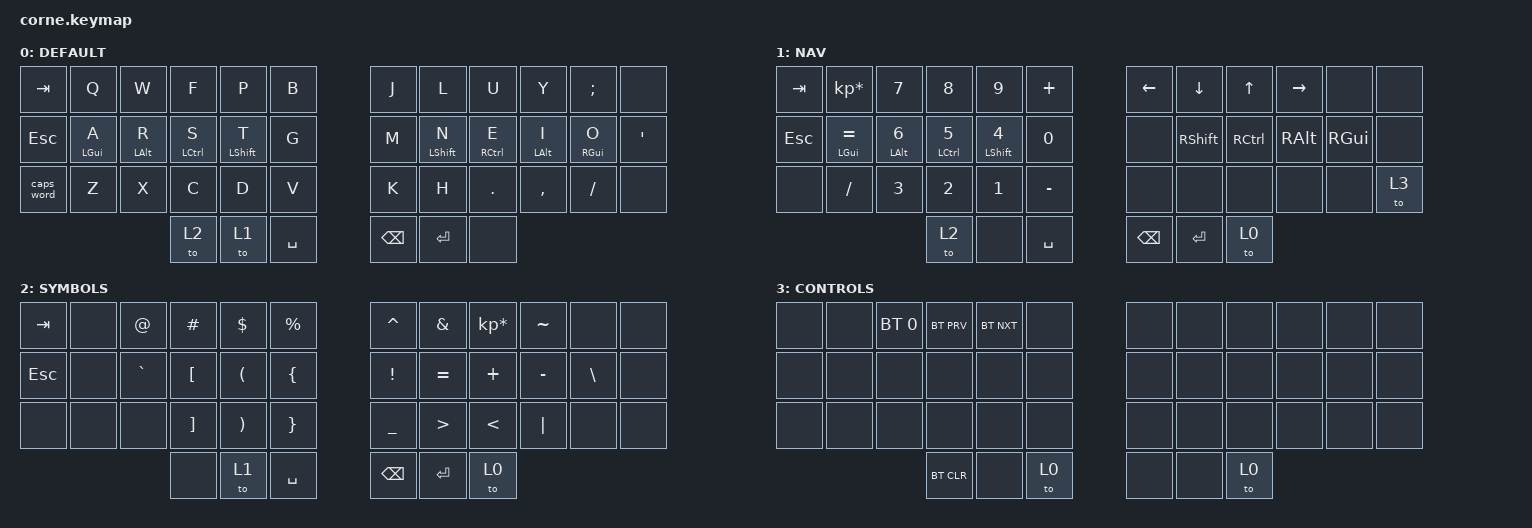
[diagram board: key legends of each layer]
/*
 * Copyright (c) 2020 The ZMK Contributors
 *
 * SPDX-License-Identifier: MIT
 */

#include <behaviors.dtsi>
#include <dt-bindings/zmk/keys.h>
#include <dt-bindings/zmk/bt.h>

#define DEFAULT 0
#define SYMBOLS 1 
#define NAV 2
#define CONTROLS 3

/ {
        behaviors {
              hm: homerow_mods {
                  compatible = "zmk,behavior-hold-tap";
                  label = "HOMEROW_MODS";
                  #binding-cells = <2>;
                  tapping-term-ms = <150>;
                  quick-tap-ms = <0>;
                  flavor = "tap-preferred";
                  bindings = <&kp>, <&kp>;
              };
            };

        keymap {
                compatible = "zmk,keymap";

                DEFAULT {
// -----------------------------------------------------------------------------------------
// | TAB |  Q  |  W  |  F  |  P  |  B  |   |  J  |  L   |  U  |  Y  |  ;  |      |
// | ESC |  A  |  R  |  S  |  T  |  G  |   |  M  |  N   |  E  |  I  |  O  |  '   |
// | SFT |  Z  |  X  |  C  |  D  |  V  |   |  K  |  H   |  .  |  ,  |  /  |      |
//                   | L2  | L1  | SPC |   | BKP | RET  |     |
                        bindings = <
   &kp TAB    &kp Q      &kp W      &kp F      &kp P      &kp B    &kp J &kp L      &kp U      &kp Y      &kp SEMI   &none
   // &kp ESC &kp A &kp R &kp S &kp T &kp G &kp M &kp N &kp E &kp I &kp O &kp SQT
   &kp ESC    &hm LGUI A &hm LALT R &hm LCTRL S &hm LSHFT T &kp G    &kp M &hm LSHFT N &hm RCTRL E &hm LALT I &hm RGUI O &kp SQT
   &caps_word &kp Z      &kp X      &kp C      &kp D      &kp V    &kp K &kp H      &kp DOT    &kp COMMA  &kp FSLH   &none
                                       &to 2 &to 1 &kp SPACE       &kp BSPC &kp RET &none
                        >;
                };

                NAV {
// -----------------------------------------------------------------------------------------
// |  TAB |  *  |  7  |  8  |  9  |  +  |   | LFT | DWN |  UP  | RGT |     | PSCR |
// |  ESC |  =  |  6  |  5  |  4  |  0  |   |     | SHF | CTRL | ALT | GUI |      |
// |      |  /  |  3  |  2  |  1  |  -  |   |     |     |      |     |     |  L4  |
//                    | L2  |     | SPC |   | BKP | RET |  L0  |
                        bindings = <
   &kp TAB &kp KP_MULTIPLY &kp N7      &kp N8       &kp N9       &kp PLUS  &kp LEFT &kp DOWN  &kp UP    &kp RIGHT &none    &none
   &kp ESC &mt LGUI EQUAL  &mt LALT N6 &mt LCTRL N5 &mt LSHFT N4 &kp N0    &none    &kp RSHFT &kp RCTRL &kp RALT  &kp RGUI &none
   &none   &kp FSLH        &kp N3      &kp N2       &kp N1       &kp MINUS &none    &none     &none     &none     &none    &to 3
                          	  &to 2 &none &kp SPACE      &kp BSPC &kp RET &to 0
                        >;
                };

                SYMBOLS {
// -----------------------------------------------------------------------------------------
// | TAB |     |  @  |  #  |  $  |  %  |   |  ^  |  &  |  *  |  ~  |     |      |
// | ESC |     |  `  |  [  |  (  |  {  |   |  !  |  =  |  +  |  -  |  \  |      |
// |     |     |     |  ]  |  )  |  }  |   |  _  |  >  |  <  | "|" |     |      |
//                   |     | L1  | SPC |   | ENT | RET | L0  |
                        bindings = <
   &kp TAB &none &kp AT    &kp HASH &kp DLLR &kp PRCNT   &kp CARET &kp AMPS  &kp KP_MULTIPLY &kp TILDE &none    &none
   &kp ESC &none &kp GRAVE &kp LBKT &kp LPAR &kp LBRC    &kp EXCL  &kp EQUAL &kp PLUS        &kp MINUS &kp BSLH &none
   &none   &none &none     &kp RBKT &kp RPAR &kp RBRC    &kp UNDER &kp GT    &kp LT          &kp PIPE  &none    &none
                    	          &none &to 1 &kp SPACE    &kp BSPC &kp RET &to 0
                        >;
                };

                CONTROLS {
                        bindings = <
   &none &none &bt BT_SEL 0 &bt BT_PRV &bt BT_NXT &none &none &none &none &none &none &none 
   &none &none &none &none &none &none &none &none &none &none &none &none 
   &none &none &none &none &none &none &none &none &none &none &none &none 
   &bt BT_CLR &none &to 0 &none &none &to 0
                        >;
                  };
        };
};
